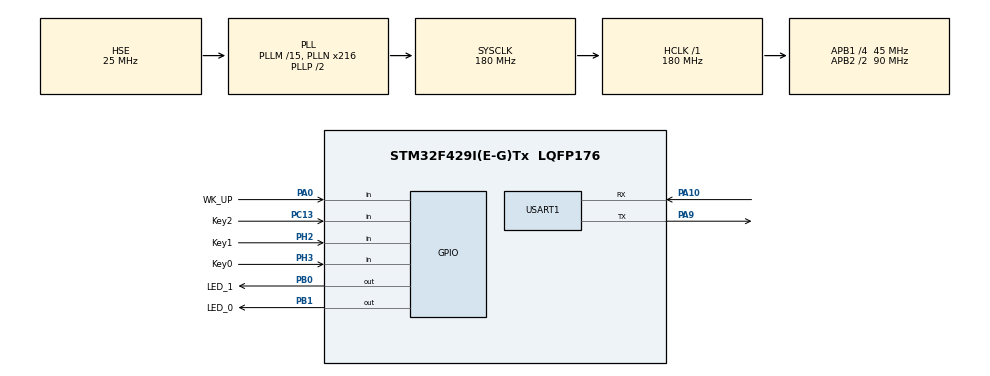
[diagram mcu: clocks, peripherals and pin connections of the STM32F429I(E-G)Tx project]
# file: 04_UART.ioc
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Dma.Request0=USART1_RX
Dma.Request1=USART1_TX
Dma.USART1_RX.0.Direction=DMA_PERIPH_TO_MEMORY
Dma.USART1_RX.0.FIFOMode=DMA_FIFOMODE_DISABLE
Dma.USART1_RX.0.Instance=DMA2_Stream2
Dma.USART1_RX.0.MemDataAlignment=DMA_MDATAALIGN_BYTE
Dma.USART1_RX.0.MemInc=DMA_MINC_ENABLE
Dma.USART1_RX.0.Mode=DMA_CIRCULAR
Dma.USART1_RX.0.PeriphDataAlignment=DMA_PDATAALIGN_BYTE
Dma.USART1_RX.0.PeriphInc=DMA_PINC_DISABLE
Dma.USART1_RX.0.Priority=DMA_PRIORITY_LOW
Dma.USART1_TX.1.Direction=DMA_MEMORY_TO_PERIPH
Dma.USART1_TX.1.FIFOMode=DMA_FIFOMODE_DISABLE
Dma.USART1_TX.1.Instance=DMA2_Stream7
Dma.USART1_TX.1.MemDataAlignment=DMA_MDATAALIGN_BYTE
Dma.USART1_TX.1.MemInc=DMA_MINC_ENABLE
Dma.USART1_TX.1.Mode=DMA_NORMAL
Dma.USART1_TX.1.PeriphDataAlignment=DMA_PDATAALIGN_BYTE
Dma.USART1_TX.1.PeriphInc=DMA_PINC_DISABLE
Dma.USART1_TX.1.Priority=DMA_PRIORITY_LOW
Mcu.Family=STM32F4
Mcu.Name=STM32F429I(E-G)Tx
Mcu.Package=LQFP176
NVIC.DMA2_Stream2_IRQn=true\:0\:0\:true\:true\:true\:2\:false\:true
NVIC.DMA2_Stream7_IRQn=true\:0\:0\:true\:true\:true\:3\:false\:true
NVIC.PriorityGroup=NVIC_PRIORITYGROUP_4
NVIC.USART1_IRQn=true\:1\:0\:true\:true\:true\:1\:true\:true
PA0/WKUP.GPIO_Label=WK_UP
PA0/WKUP.GPIO_PuPd=GPIO_PULLDOWN
PA0/WKUP.Signal=GPIO_Input
PA10.Mode=Asynchronous
PA10.Signal=USART1_RX
PA13.Mode=Trace_Asynchronous_SW
PA13.Signal=SYS_JTMS-SWDIO
PA14.Mode=Trace_Asynchronous_SW
PA14.Signal=SYS_JTCK-SWCLK
PA9.Mode=Asynchronous
PA9.Signal=USART1_TX
PB0.GPIO_Label=LED_1
PB0.Signal=GPIO_Output
PB1.GPIO_Label=LED_0
PB1.Signal=GPIO_Output
PB3.Mode=Trace_Asynchronous_SW
PB3.Signal=SYS_JTDO-SWO
PC13.GPIO_Label=Key2
PC13.GPIO_PuPd=GPIO_PULLUP
PC13.Signal=GPIO_Input
PC14/OSC32_IN.Mode=LSE-External-Oscillator
PC14/OSC32_IN.Signal=RCC_OSC32_IN
PC15/OSC32_OUT.Mode=LSE-External-Oscillator
PC15/OSC32_OUT.Signal=RCC_OSC32_OUT
PH0/OSC_IN.Mode=HSE-External-Oscillator
PH0/OSC_IN.Signal=RCC_OSC_IN
PH1/OSC_OUT.Mode=HSE-External-Oscillator
PH1/OSC_OUT.Signal=RCC_OSC_OUT
PH2.GPIO_Label=Key1
PH2.GPIO_PuPd=GPIO_PULLUP
PH2.Signal=GPIO_Input
PH3.GPIO_Label=Key0
PH3.GPIO_PuPd=GPIO_PULLUP
PH3.Signal=GPIO_Input
ProjectManager.HeapSize=0x200
ProjectManager.StackSize=0x400
ProjectManager.TargetToolchain=STM32CubeIDE
RCC.48MHZClocksFreq_Value=90000000
RCC.AHBFreq_Value=180000000
RCC.APB1CLKDivider=RCC_HCLK_DIV4
RCC.APB1Freq_Value=45000000
RCC.APB1TimFreq_Value=90000000
RCC.APB2CLKDivider=RCC_HCLK_DIV2
RCC.APB2Freq_Value=90000000
RCC.APB2TimFreq_Value=180000000
RCC.CortexFreq_Value=180000000
RCC.HCLKFreq_Value=180000000
RCC.HSE_VALUE=25000000
RCC.HSI_VALUE=16000000
RCC.PLLM=15
RCC.PLLN=216
RCC.PLLSourceVirtual=RCC_PLLSOURCE_HSE
RCC.SYSCLKFreq_VALUE=180000000
RCC.SYSCLKSource=RCC_SYSCLKSOURCE_PLLCLK
RCC.VCOOutputFreq_Value=360000000
USART1.VirtualMode=VM_ASYNC
board=custom

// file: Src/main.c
/* USER CODE BEGIN Header */
/**
  ******************************************************************************
  * @file           : main.c
  * @brief          : Main program body
  ******************************************************************************
  * @attention
  *
  * <h2><center>&copy; Copyright (c) 2019 STMicroelectronics.
  * All rights reserved.</center></h2>
  *
  * This software component is licensed by ST under BSD 3-Clause license,
  * the "License"; You may not use this file except in compliance with the
  * License. You may obtain a copy of the License at:
  *                        opensource.org/licenses/BSD-3-Clause
  *
  ******************************************************************************
  */
/* USER CODE END Header */

#include "main.h"
#include "dma.h"
#include "usart.h"
#include "gpio.h"

/* USER CODE BEGIN Includes */
#include <stdio.h>
/* USER CODE END Includes */

void SystemClock_Config(void);
static void MX_NVIC_Init(void);

/* USER CODE BEGIN 0 */
uint8_t temp_rec[10] = {0};
/* USER CODE END 0 */

int main(void)
{

  /* MCU Configuration--------------------------------------------------------*/

  /* Reset of all peripherals, Initializes the Flash interface and the Systick. */
  HAL_Init();

  /* Configure the system clock */
  SystemClock_Config();

  /* Initialize all configured peripherals */
  MX_GPIO_Init();
  MX_USART1_UART_Init();
  MX_DMA_Init();

  /* Initialize interrupts */
  MX_NVIC_Init();
  /* USER CODE BEGIN 2 */
  printf("Start\r\n");

//  HAL_UART_Receive_IT (&huart1, temp_rec, 10);
  HAL_UART_Receive_DMA(&huart1,temp_rec,10);

  /* USER CODE END 2 */

  /* Infinite loop */
  /* USER CODE BEGIN WHILE */

  uint8_t temp[] = {"test123\r\n"};

  while (1)
  {
	  //Blocking MODE
	  //HAL_UART_Transmit(&huart1, temp, 10, 5);
	  //Interrupt MODE
	  //HAL_UART_Transmit_IT(&huart1, temp, 10);
	  //DMA MODE
	  HAL_UART_Transmit_DMA(&huart1, temp, 10);
	  HAL_Delay(100);

    /* USER CODE END WHILE */

  }
}

void SystemClock_Config(void)
{
  RCC_OscInitTypeDef RCC_OscInitStruct = {0};
  RCC_ClkInitTypeDef RCC_ClkInitStruct = {0};

  /** Configure the main internal regulator output voltage
  */
  __HAL_RCC_PWR_CLK_ENABLE();
  __HAL_PWR_VOLTAGESCALING_CONFIG(PWR_REGULATOR_VOLTAGE_SCALE1);
  /** Initializes the CPU, AHB and APB busses clocks
  */
  RCC_OscInitStruct.OscillatorType = RCC_OSCILLATORTYPE_HSE;
  RCC_OscInitStruct.HSEState = RCC_HSE_ON;
  RCC_OscInitStruct.PLL.PLLState = RCC_PLL_ON;
  RCC_OscInitStruct.PLL.PLLSource = RCC_PLLSOURCE_HSE;
  RCC_OscInitStruct.PLL.PLLM = 15;
  RCC_OscInitStruct.PLL.PLLN = 216;
  RCC_OscInitStruct.PLL.PLLP = RCC_PLLP_DIV2;
  RCC_OscInitStruct.PLL.PLLQ = 4;
  if (HAL_RCC_OscConfig(&RCC_OscInitStruct) != HAL_OK)
  {
    Error_Handler();
  }
  /** Activate the Over-Drive mode
  */
  if (HAL_PWREx_EnableOverDrive() != HAL_OK)
  {
    Error_Handler();
  }
  /** Initializes the CPU, AHB and APB busses clocks
  */
  RCC_ClkInitStruct.ClockType = RCC_CLOCKTYPE_HCLK|RCC_CLOCKTYPE_SYSCLK
                              |RCC_CLOCKTYPE_PCLK1|RCC_CLOCKTYPE_PCLK2;
  RCC_ClkInitStruct.SYSCLKSource = RCC_SYSCLKSOURCE_PLLCLK;
  RCC_ClkInitStruct.AHBCLKDivider = RCC_SYSCLK_DIV1;
  RCC_ClkInitStruct.APB1CLKDivider = RCC_HCLK_DIV4;
  RCC_ClkInitStruct.APB2CLKDivider = RCC_HCLK_DIV2;

  if (HAL_RCC_ClockConfig(&RCC_ClkInitStruct, FLASH_LATENCY_5) != HAL_OK)
  {
    Error_Handler();
  }
}

/**
  * @brief NVIC Configuration.
  * @retval None
  */
static void MX_NVIC_Init(void)
{
  /* USART1_IRQn interrupt configuration */
  HAL_NVIC_SetPriority(USART1_IRQn, 1, 0);
  HAL_NVIC_EnableIRQ(USART1_IRQn);
  /* DMA2_Stream2_IRQn interrupt configuration */
  HAL_NVIC_SetPriority(DMA2_Stream2_IRQn, 0, 0);
  HAL_NVIC_EnableIRQ(DMA2_Stream2_IRQn);
  /* DMA2_Stream7_IRQn interrupt configuration */
  HAL_NVIC_SetPriority(DMA2_Stream7_IRQn, 0, 0);
  HAL_NVIC_EnableIRQ(DMA2_Stream7_IRQn);
}

/* USER CODE BEGIN 4 */

int _write(int file, char *ptr, int len) {
	int DataIdx;
	for (DataIdx = 0; DataIdx < len; DataIdx++) {
		ITM_SendChar(*ptr++);
	}
	return len;
}

void HAL_UART_RxCpltCallback(UART_HandleTypeDef *huart)
{
	if(huart->Instance == USART1)
	{
//		HAL_UART_Receive_IT(&huart1, temp_rec, 10);
//		HAL_UART_Receive_DMA(&huart1,temp_rec,10);
		printf("%s\r\n",temp_rec);
	}
}

void HAL_UART_TxCpltCallback(UART_HandleTypeDef *huart)
{
	if(huart->Instance == USART1)
	{
		HAL_GPIO_TogglePin(LED_0_GPIO_Port, LED_0_Pin);
	}
}

//HalfCpltCallback only works in DMA mode
void HAL_UART_TxHalfCpltCallback (UART_HandleTypeDef *huart)
{
//	HAL_GPIO_TogglePin (LED_1_GPIO_Port, LED_1_Pin);
	printf("Here11111\r\n");
}

void HAL_UART_RxHalfCpltCallback(UART_HandleTypeDef *huart)
{
//	HAL_GPIO_TogglePin (LED_1_GPIO_Port, LED_1_Pin);
	printf("Here22222\r\n");
}

/* USER CODE END 4 */

void Error_Handler(void)
{
}

/************************ (C) COPYRIGHT STMicroelectronics *****END OF FILE****/
